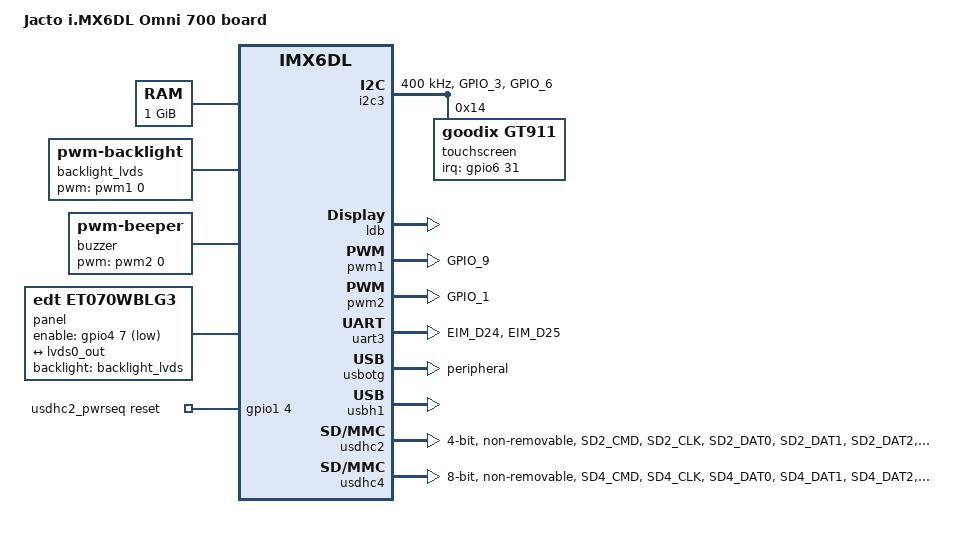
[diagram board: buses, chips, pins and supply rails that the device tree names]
// SPDX-License-Identifier: (GPL-2.0+ OR MIT)

/dts-v1/;

#include <dt-bindings/gpio/gpio.h>
#include "imx6dl.dtsi"

/ {
	model = "Jacto i.MX6DL Omni 700 board";
	compatible = "jacto,imx6dl-omni700", "fsl,imx6dl";

	chosen {
		stdout-path = &uart3;
	};

	aliases {
		mmc0 = &usdhc4;
		mmc1 = &usdhc2;
	};

	memory@10000000 {
		device_type = "memory";
		reg = <0x10000000 0x40000000>;
	};

	backlight_lvds: backlight-lvds {
		compatible = "pwm-backlight";
		pwms = <&pwm1 0 5000000>;
		brightness-levels = <0 4 8 16 32 64 128 255>;
		default-brightness-level = <7>;
		status = "okay";
	};

	buzzer {
		compatible = "pwm-beeper";
		pwms = <&pwm2 0 5000000>;
	};

	panel {
		compatible = "edt,et070wblg3";
		backlight = <&backlight_lvds>;
		pinctrl-names = "default";
		pinctrl-0 = <&pinctrl_lcd_enable>;
		enable-gpios = <&gpio4 7 GPIO_ACTIVE_LOW>;

		port {
			panel_in: endpoint {
				remote-endpoint = <&lvds0_out>;
			};
		};
	};

	usdhc2_pwrseq: usdhc1_pwrseq {
		compatible = "mmc-pwrseq-simple";
		reset-gpios = <&gpio1 4 GPIO_ACTIVE_HIGH>;
	};
};

&i2c3 {
	clock-frequency = <400000>;
	pinctrl-names = "default";
	pinctrl-0 = <&pinctrl_i2c3>;
	status = "okay";

	touchscreen@14 {
		compatible = "goodix,gt911";
		reg = <0x14>;
		pinctrl-names = "default";
		pinctrl-0 = <&pinctrl_ts>;
		interrupt-parent = <&gpio6>;
		interrupts = <31 IRQ_TYPE_EDGE_FALLING>;
		irq-gpios = <&gpio6 31 GPIO_ACTIVE_HIGH>;
	};
};

&ldb {
	status = "okay";

	lvds-channel@1 {
		reg = <1>;
		fsl,data-mapping = "spwg";
		fsl,data-width = <18>;
		status = "okay";

		port@4 {
			reg = <4>;

			lvds0_out: endpoint {
				remote-endpoint = <&panel_in>;
			};
		};
	};
};

&pwm1 {
	#pwm-cells = <2>;
	pinctrl-names = "default";
	pinctrl-0 = <&pinctrl_pwm1>;
	status = "okay";
};

&pwm2 {
	#pwm-cells = <2>;
	pinctrl-names = "default";
	pinctrl-0 = <&pinctrl_pwm2>;
	status = "okay";
};

&uart3 {
	pinctrl-names = "default";
	pinctrl-0 = <&pinctrl_uart3>;
	status = "okay";
};

&usbotg {
	dr_mode = "peripheral";
	status = "okay";
};

&usbh1 {
	status = "okay";
};

&usdhc2 {
	pinctrl-names = "default";
	pinctrl-0 = <&pinctrl_usdhc2>;
	bus-width = <4>;
	no-1-8-v;
	mmc-pwrseq = <&usdhc2_pwrseq>;
	keep-power-in-suspend;
	non-removable;
	status = "okay";
};

&usdhc4 {
	pinctrl-names = "default";
	pinctrl-0 = <&pinctrl_usdhc4>;
	bus-width = <8>;
	non-removable;
	no-1-8-v;
	status = "okay";
};

&iomuxc {
	pinctrl_i2c3: i2c3grp {
		fsl,pins = <
			MX6QDL_PAD_GPIO_3__I2C3_SCL		0x4001b8b1
			MX6QDL_PAD_GPIO_6__I2C3_SDA		0x4001b8b1
		>;
	};

	pinctrl_lcd_enable: lcdenablegrp {
		fsl,pins = <
			MX6QDL_PAD_KEY_ROW0__GPIO4_IO07		0x1b0b0
		>;
	};

	pinctrl_pwm1: pwm1grp {
		fsl,pins = <
			MX6QDL_PAD_GPIO_9__PWM1_OUT		0x1b0b1
		>;
	};

	pinctrl_pwm2: pwm2grp {
		fsl,pins = <
			MX6QDL_PAD_GPIO_1__PWM2_OUT		0x1b0b1
		>;
	};

	pinctrl_ts: tsgrp {
		fsl,pins = <
			MX6QDL_PAD_EIM_BCLK__GPIO6_IO31		0x1b0b0
		>;
	};


	pinctrl_uart3: uart3grp {
		fsl,pins = <
			MX6QDL_PAD_EIM_D24__UART3_TX_DATA	0x1b0b1
			MX6QDL_PAD_EIM_D25__UART3_RX_DATA	0x1b0b1
		>;
	};

	pinctrl_usdhc2: usdhc2grp {
		fsl,pins = <
			MX6QDL_PAD_SD2_CMD__SD2_CMD		0x17059
			MX6QDL_PAD_SD2_CLK__SD2_CLK		0x10059
			MX6QDL_PAD_SD2_DAT0__SD2_DATA0		0x17059
			MX6QDL_PAD_SD2_DAT1__SD2_DATA1		0x17059
			MX6QDL_PAD_SD2_DAT2__SD2_DATA2		0x17059
			MX6QDL_PAD_SD2_DAT3__SD2_DATA3		0x17059
			MX6QDL_PAD_GPIO_4__GPIO1_IO04		0x1b0b0
		>;
	};

	pinctrl_usdhc4: usdhc4grp {
		fsl,pins = <
			MX6QDL_PAD_SD4_CMD__SD4_CMD		0x17059
			MX6QDL_PAD_SD4_CLK__SD4_CLK		0x10059
			MX6QDL_PAD_SD4_DAT0__SD4_DATA0		0x17059
			MX6QDL_PAD_SD4_DAT1__SD4_DATA1		0x17059
			MX6QDL_PAD_SD4_DAT2__SD4_DATA2		0x17059
			MX6QDL_PAD_SD4_DAT3__SD4_DATA3		0x17059
			MX6QDL_PAD_SD4_DAT4__SD4_DATA4		0x17059
			MX6QDL_PAD_SD4_DAT5__SD4_DATA5		0x17059
			MX6QDL_PAD_SD4_DAT6__SD4_DATA6		0x17059
			MX6QDL_PAD_SD4_DAT7__SD4_DATA7		0x17059
		>;
	};
};
